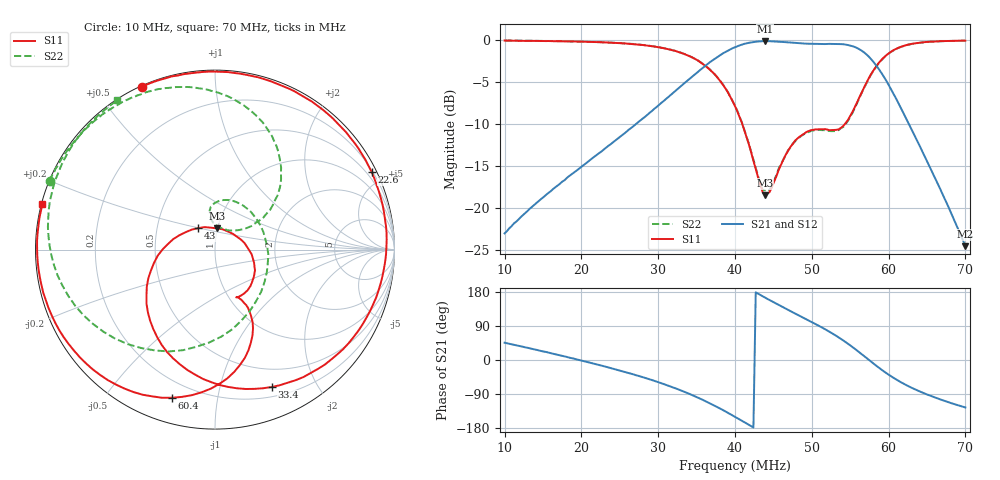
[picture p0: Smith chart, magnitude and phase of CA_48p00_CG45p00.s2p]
#  HZ  S  RI  R  50.00
! Rohde & Schwarz ZVT8 8Ports - Version 4.11 - 1300.0000k08 SN: 100242
! Date: 2026-07-31 15:11:16
! Measurements: S11 S21 S12 S22
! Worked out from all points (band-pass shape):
!   201 points, 10 MHz to 70 MHz, reference 50 ohm
!   highest |S21| = -0.11 dB at 43.9 MHz (marker M1); lowest = -24.6 dB at 70 MHz (marker M2)
!   |S21| within 3 dB of the highest: 36.06 MHz to 58.47 MHz (22.41 MHz wide, 47.4 % of centre)
!   lowest |S11| = -18.5 dB at 43.9 MHz (marker M3), VSWR 1.27, Z = 49.7 + j11.9 ohm
!   |S11| at or under -10 dB: 40.95 MHz to 54.31 MHz (13.37 MHz wide, 28.1 % of centre)
!   |S22| runs from -18.1 to 0.0 dB; largest |S21 - S12| = 0.003
!   S11 on the Smith chart (normalised r, x): 10 MHz: 0.00, +0.65; 22.6 MHz: 0.26, +4.26; 33.4 MHz: 0.30, -1.45; 43 MHz: 0.81, +0.20; 60.4 MHz: 0.12, -0.74; 70 MHz: 0.00, +0.13
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1e7  -0.4093 0.9086  0.0491 0.0502  0.0489 0.0502  -0.9204 0.3814
1.51e7  0.1763 0.9734  0.1074 0.0438  0.1073 0.0439  -0.8117 0.5658
2.02e7  0.7053 0.6804  0.1783 -0.00722  0.1778 -0.00712  -0.6526 0.731
2.26e7  0.8727 0.4316  0.2094 -0.0551  0.2107 -0.0547  -0.5531 0.8005
2.65e7  0.9481 -0.0664  0.2415 -0.1776  0.2416 -0.1783  -0.3498 0.8854
3.01e7  0.7448 -0.5211  0.2104 -0.3528  0.2113 -0.3523  -0.111 0.9027
3.34e7  0.3155 -0.7656  0.0587 -0.5508  0.0596 -0.5492  0.1399 0.8165
3.64e7  -0.1544 -0.6704  -0.2567 -0.6716  -0.2567 -0.6724  0.3289 0.6057
3.82e7  -0.3437 -0.4431  -0.5256 -0.6321  -0.5254 -0.6326  0.3674 0.4251
4e7  -0.3714 -0.1591  -0.7868 -0.455  -0.787 -0.4535  0.3216 0.2473
4.3e7  -0.0933 0.1197  -0.9797 0.0848  -0.9794 0.0845  0.1119 0.1067
4.39e7  0.0107 0.1182  -0.9536 0.2581  -0.9524 0.2588  0.0542 0.1148
4.72e7  0.2179 -0.0741  -0.6129 0.7501  -0.6125 0.7494  -0.0267 0.226
5.02e7  0.1715 -0.2365  -0.1333 0.942  -0.1348 0.9422  0.1012 0.271
5.32e7  0.1207 -0.2657  0.4243 0.8514  0.4249 0.8513  0.2808 0.0578
5.59e7  0.2024 -0.3748  0.8146 0.3785  0.8144 0.3793  0.1481 -0.3941
5.8e7  0.1386 -0.6431  0.7371 -0.1144  0.7362 -0.1161  -0.3332 -0.562
6.01e7  -0.1826 -0.8205  0.4068 -0.3413  0.4055 -0.341  -0.7793 -0.3123
6.04e7  -0.2392 -0.8254  0.3603 -0.3483  0.361 -0.3491  -0.8179 -0.2571
6.25e7  -0.5972 -0.7271  0.1207 -0.3028  0.1204 -0.3029  -0.931 0.1261
6.49e7  -0.8679 -0.4486  -0.000401 -0.1938  -9.29e-05 -0.1937  -0.8602 0.4601
7e7  -0.9619 0.2535  -0.0341 -0.0481  -0.0341 -0.0479  -0.5458 0.8316
